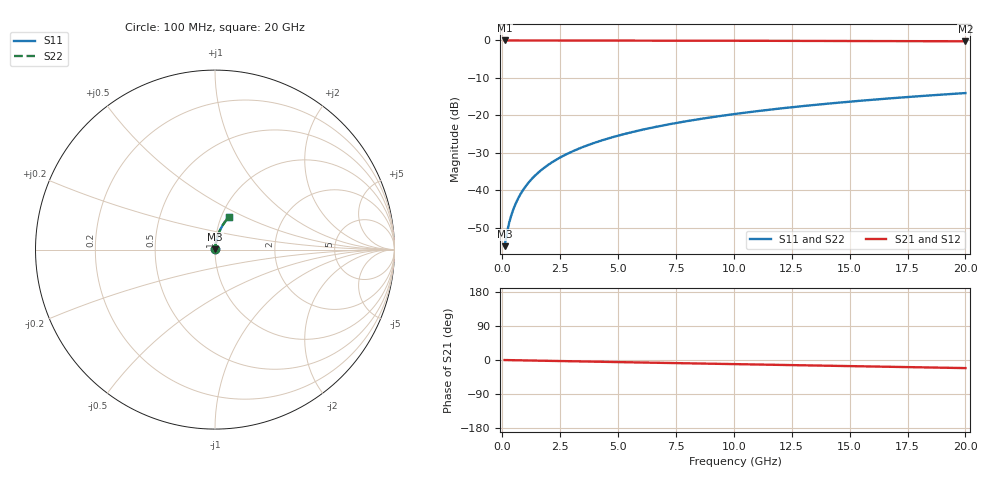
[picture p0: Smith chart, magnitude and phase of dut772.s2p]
! Touchstone file exported from HFSS 2026.1.0
!  File:  C:/ffzhzh/LocalFiles/Ansys_Project_Files/temp_train_BSMRDL_772_1783169222_55132.aedt
!  Generated:  08:48:15 PM Jul  4, 2026
!  Design:  BSMRDL
!  Project:  temp_train_BSMRDL_772_1783169222_55132
! Variables:
!  h_bsmrdl = 5.51um
!  h_ox = 20um
!  h_rdl = 5um
!  h_sub = 80um
!  h_tmrdl = 5um
!  h_tsv = 80um
!  h_via = 3um
!  l_bsmrdl = 303.04um
!  l_sub = 703.04um
!  l_tmrdl = 200um
!  m_sub = 200um
!  pitch = 37.02um
!  r_tsv = 6um
!  s_tmrdl = 10um
!  w_bsmrdl = 15.95um
!  w_sub = 500um
!  w_tmrdl = 12um
!  x_tsv_center1 = 206um
!  x_tsv_center2 = 524.99um
!  x_tsv_center3 = 736.99um
!  x_tsv_center4 = 1055.98um
!  x_tsv_center5 = 1267.98um
!  x_tsv_center6 = 1586.97um
# GHz S MA R 50.000000
! Terminal data exported
! Port[1] = BSM_RDL1_1_T1
! Port[2] = BSM_RDL1_1_T2
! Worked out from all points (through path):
!   200 points, 100 MHz to 20 GHz, reference 50 ohm
!   highest |S21| = -0.01 dB at 100 MHz (marker M1); lowest = -0.2 dB at 20 GHz (marker M2)
!   group delay of S21, straight-line fit = 2.96 ps
!   lowest |S11| = -55.0 dB at 100 MHz (marker M3), VSWR 1.00, Z = 50.1 + j0.118 ohm
!   |S11| at or under -10 dB: start of sweep to end of sweep
!   |S22| runs from -55.0 to -14.1 dB; largest |S21 - S12| = 2.6e-15
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0.1  0.001788 41.4  0.9987 -0.1  0.9987 -0.1  0.001788 41.4
! Gamma 0 0 0 0
! Port Impedance 50 0 50 0
0.2  0.002706 58.5  0.9986 -0.2  0.9986 -0.2  0.002706 58.5
0.3  0.003709 66.6  0.9985 -0.3  0.9985 -0.3  0.003709 66.6
0.4  0.004742 71.2  0.9985 -0.5  0.9985 -0.5  0.004742 71.2
0.5  0.005793 74.3  0.9984 -0.6  0.9984 -0.6  0.005793 74.3
0.6  0.006857 76.3  0.9984 -0.7  0.9984 -0.7  0.006857 76.3
0.8  0.009005 79.0  0.9983 -0.9  0.9983 -0.9  0.009005 79.0
1.1  0.01225 81.0  0.9982 -1.2  0.9982 -1.2  0.01225 81.0
1.3  0.01442 81.7  0.9981 -1.5  0.9981 -1.5  0.01442 81.7
1.5  0.01659 82.1  0.998 -1.7  0.998 -1.7  0.01659 82.1
1.8  0.01983 82.5  0.9979 -2.0  0.9979 -2.0  0.01983 82.5
2.1  0.02305 82.6  0.9977 -2.4  0.9977 -2.4  0.02305 82.6
2.7  0.02946 82.5  0.9973 -3.0  0.9973 -3.0  0.02946 82.5
3.5  0.0379 82.1  0.9966 -3.9  0.9966 -3.9  0.0379 82.1
4.2  0.0452 81.6  0.996 -4.7  0.996 -4.7  0.0452 81.6
5  0.05345 80.9  0.9952 -5.5  0.9952 -5.5  0.05345 80.9
6.8  0.07177 79.3  0.9934 -7.5  0.9934 -7.5  0.07177 79.3
8.3  0.08682 78.0  0.9917 -9.1  0.9917 -9.1  0.08682 78.0
10.1  0.1047 76.3  0.9895 -11.0  0.9895 -11.0  0.1047 76.3
13.4  0.1368 73.1  0.9849 -14.5  0.9849 -14.5  0.1368 73.1
16.7  0.1679 69.9  0.9794 -17.9  0.9794 -17.9  0.1679 69.9
20  0.1981 66.7  0.9733 -21.4  0.9733 -21.4  0.1981 66.7
